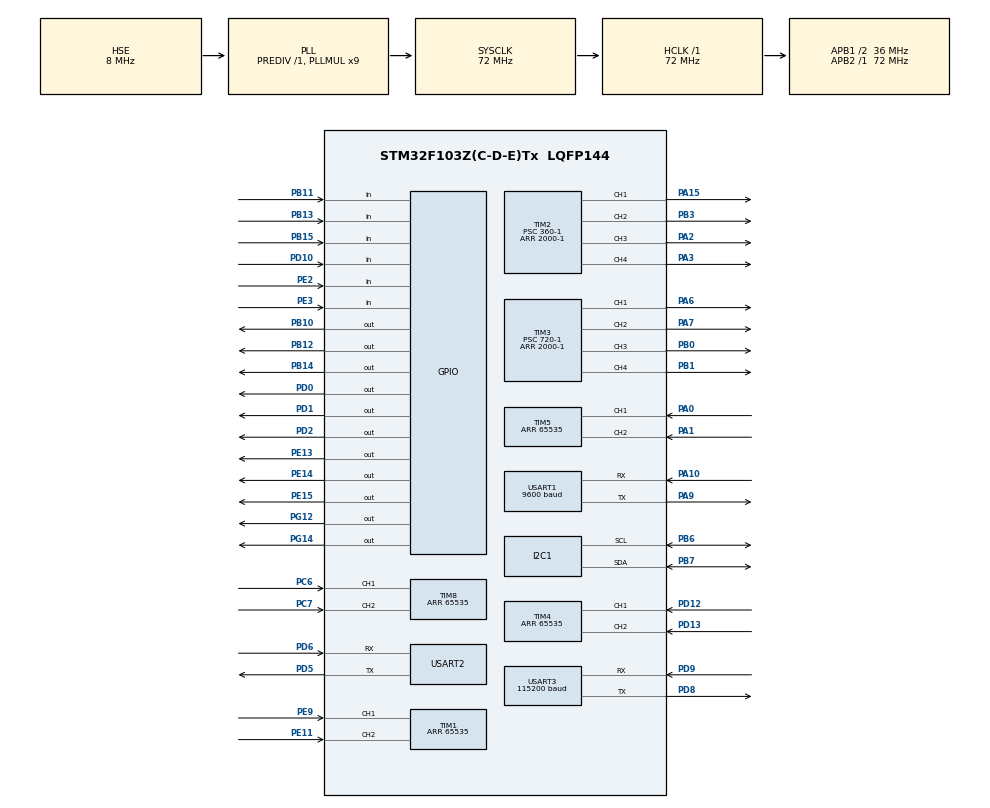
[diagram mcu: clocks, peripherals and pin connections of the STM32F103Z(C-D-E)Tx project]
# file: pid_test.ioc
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Mcu.Family=STM32F1
Mcu.Name=STM32F103Z(C-D-E)Tx
Mcu.Package=LQFP144
NVIC.PriorityGroup=NVIC_PRIORITYGROUP_4
NVIC.TIM1_CC_IRQn=true\:0\:0\:false\:false\:true\:true\:true
NVIC.TIM2_IRQn=true\:0\:0\:false\:false\:true\:true\:true
NVIC.TIM3_IRQn=true\:0\:0\:false\:false\:true\:true\:true
NVIC.TIM4_IRQn=true\:0\:0\:false\:false\:true\:true\:true
NVIC.TIM5_IRQn=true\:0\:0\:false\:false\:true\:true\:true
NVIC.TIM6_IRQn=true\:0\:0\:false\:false\:true\:true\:true
NVIC.TIM8_CC_IRQn=true\:0\:0\:false\:false\:true\:true\:true
NVIC.USART1_IRQn=true\:0\:0\:false\:false\:true\:true\:true
NVIC.USART2_IRQn=true\:0\:0\:false\:false\:true\:true\:true
NVIC.USART3_IRQn=true\:0\:0\:false\:false\:true\:true\:true
OSC_IN.Mode=HSE-External-Oscillator
OSC_IN.Signal=RCC_OSC_IN
OSC_OUT.Mode=HSE-External-Oscillator
OSC_OUT.Signal=RCC_OSC_OUT
PA0-WKUP.Signal=S_TIM5_CH1
PA1.Signal=S_TIM5_CH2
PA10.Mode=Asynchronous
PA10.Signal=USART1_RX
PA13.Mode=Serial_Wire
PA13.Signal=SYS_JTMS-SWDIO
PA14.Mode=Serial_Wire
PA14.Signal=SYS_JTCK-SWCLK
PA15.Signal=S_TIM2_CH1_ETR
PA2.Signal=S_TIM2_CH3
PA3.Signal=S_TIM2_CH4
PA6.Signal=S_TIM3_CH1
PA7.Signal=S_TIM3_CH2
PA9.Mode=Asynchronous
PA9.Signal=USART1_TX
PB0.Signal=S_TIM3_CH3
PB1.Signal=S_TIM3_CH4
PB10.Signal=GPIO_Output
PB11.GPIO_PuPd=GPIO_PULLUP
PB11.Signal=GPIO_Input
PB12.GPIO_Speed=GPIO_SPEED_FREQ_MEDIUM
PB12.Signal=GPIO_Output
PB13.GPIO_PuPd=GPIO_PULLDOWN
PB13.Signal=GPIO_Input
PB14.GPIO_Speed=GPIO_SPEED_FREQ_MEDIUM
PB14.Signal=GPIO_Output
PB15.GPIO_PuPd=GPIO_PULLDOWN
PB15.Signal=GPIO_Input
PB3.Signal=S_TIM2_CH2
PB6.Mode=I2C
PB6.Signal=I2C1_SCL
PB7.Mode=I2C
PB7.Signal=I2C1_SDA
PC14-OSC32_IN.Mode=LSE-External-Oscillator
PC14-OSC32_IN.Signal=RCC_OSC32_IN
PC15-OSC32_OUT.Mode=LSE-External-Oscillator
PC15-OSC32_OUT.Signal=RCC_OSC32_OUT
PC6.Signal=S_TIM8_CH1
PC7.Signal=S_TIM8_CH2
PD0.Signal=GPIO_Output
PD1.Signal=GPIO_Output
PD10.GPIO_PuPd=GPIO_PULLUP
PD10.Signal=GPIO_Input
PD12.Signal=S_TIM4_CH1
PD13.Signal=S_TIM4_CH2
PD2.Signal=GPIO_Output
PD5.Mode=Asynchronous
PD5.Signal=USART2_TX
PD6.Mode=Asynchronous
PD6.Signal=USART2_RX
PD8.Mode=Asynchronous
PD8.Signal=USART3_TX
PD9.Mode=Asynchronous
PD9.Signal=USART3_RX
PE11.Signal=S_TIM1_CH2
PE13.Signal=GPIO_Output
PE14.Signal=GPIO_Output
PE15.Signal=GPIO_Output
PE2.GPIO_PuPd=GPIO_PULLUP
PE2.Signal=GPIO_Input
PE3.GPIO_PuPd=GPIO_PULLUP
PE3.Signal=GPIO_Input
PE9.Signal=S_TIM1_CH1
PG12.Signal=GPIO_Output
PG14.Signal=GPIO_Output
ProjectManager.HeapSize=0x200
ProjectManager.StackSize=0x400
ProjectManager.TargetToolchain=MDK-ARM V5.27
RCC.AHBFreq_Value=72000000
RCC.APB1CLKDivider=RCC_HCLK_DIV2
RCC.APB1Freq_Value=36000000
RCC.APB1TimFreq_Value=72000000
RCC.APB2Freq_Value=72000000
RCC.APB2TimFreq_Value=72000000
RCC.HCLKFreq_Value=72000000
RCC.PLLMUL=RCC_PLL_MUL9
RCC.PLLSourceVirtual=RCC_PLLSOURCE_HSE
RCC.SYSCLKFreq_VALUE=72000000
RCC.SYSCLKSource=RCC_SYSCLKSOURCE_PLLCLK
RCC.USBFreq_Value=72000000
SH.S_TIM1_CH1.0=TIM1_CH1,Encoder_Interface
SH.S_TIM1_CH2.0=TIM1_CH2,Encoder_Interface
SH.S_TIM2_CH1_ETR.0=TIM2_CH1,PWM Generation1 CH1
SH.S_TIM2_CH2.0=TIM2_CH2,PWM Generation2 CH2
SH.S_TIM2_CH3.0=TIM2_CH3,PWM Generation3 CH3
SH.S_TIM2_CH4.0=TIM2_CH4,PWM Generation4 CH4
SH.S_TIM3_CH1.0=TIM3_CH1,PWM Generation1 CH1
SH.S_TIM3_CH2.0=TIM3_CH2,PWM Generation2 CH2
SH.S_TIM3_CH3.0=TIM3_CH3,PWM Generation3 CH3
SH.S_TIM3_CH4.0=TIM3_CH4,PWM Generation4 CH4
SH.S_TIM4_CH1.0=TIM4_CH1,Encoder_Interface
SH.S_TIM4_CH2.0=TIM4_CH2,Encoder_Interface
SH.S_TIM5_CH1.0=TIM5_CH1,Encoder_Interface
SH.S_TIM5_CH2.0=TIM5_CH2,Encoder_Interface
SH.S_TIM8_CH1.0=TIM8_CH1,Encoder_Interface
SH.S_TIM8_CH2.0=TIM8_CH2,Encoder_Interface
TIM1.EncoderMode=TIM_ENCODERMODE_TI12
TIM1.Period=65535
TIM2.Channel-PWM\ Generation1\ CH1=TIM_CHANNEL_1
TIM2.Channel-PWM\ Generation2\ CH2=TIM_CHANNEL_2
TIM2.Channel-PWM\ Generation3\ CH3=TIM_CHANNEL_3
TIM2.Channel-PWM\ Generation4\ CH4=TIM_CHANNEL_4
TIM2.Period=2000-1
TIM2.Prescaler=360-1
TIM3.Channel-PWM\ Generation1\ CH1=TIM_CHANNEL_1
TIM3.Channel-PWM\ Generation2\ CH2=TIM_CHANNEL_2
TIM3.Channel-PWM\ Generation3\ CH3=TIM_CHANNEL_3
TIM3.Channel-PWM\ Generation4\ CH4=TIM_CHANNEL_4
TIM3.Period=2000-1
TIM3.Prescaler=720-1
TIM4.EncoderMode=TIM_ENCODERMODE_TI12
TIM4.Period=65535
TIM5.EncoderMode=TIM_ENCODERMODE_TI12
TIM5.Period=65535
TIM6.Period=1000-1
TIM6.Prescaler=720-1
TIM8.EncoderMode=TIM_ENCODERMODE_TI12
TIM8.Period=65535
USART1.BaudRate=9600
USART1.VirtualMode=VM_ASYNC
USART2.VirtualMode=VM_ASYNC
USART3.BaudRate=115200
USART3.VirtualMode=VM_ASYNC
VP_TIM2_VS_ClockSourceINT.Mode=Internal
VP_TIM3_VS_ClockSourceINT.Mode=Internal
VP_TIM6_VS_ClockSourceINT.Mode=Enable_Timer
board=custom

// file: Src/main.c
/* USER CODE BEGIN Header */
/**
  ******************************************************************************
  * @file           : main.c
  * @brief          : Main program body
  ******************************************************************************
  * @attention
  *
  * <h2><center>&copy; Copyright (c) 2022 STMicroelectronics.
  * All rights reserved.</center></h2>
  *
  * This software component is licensed by ST under BSD 3-Clause license,
  * the "License"; You may not use this file except in compliance with the
  * License. You may obtain a copy of the License at:
  *                        opensource.org/licenses/BSD-3-Clause
  *
  ******************************************************************************
  */
/* USER CODE END Header */

#include "main.h"
#include "i2c.h"
#include "tim.h"
#include "usart.h"
#include "gpio.h"

/* USER CODE BEGIN Includes */
#include "stdio.h"
#include "pid.h"
#include "motor.h"
#include "jy901.h"
#include "openmv.h"
#include "delay.h"
#include "oled.h"
#include "u8g2.h"
#include "stm32_u8g2.h"
#include "encode.h"
#include "chassis.h"
#include "door.h"
#include "HC_SR04.h"
#include "obstacle_avoidance.h"
#include "syn6288.h"

struct FILE
{
	int handle;
};

int fputc(int ch,FILE *f)
{
	HAL_UART_Transmit(&huart1,(uint8_t*)&ch,1,0xffff);
	return ch;
}

u8g2_t u8g2;
int tim7dieorlive=0;
int pwmtest=0;

int my_test_ok=0;
/* USER CODE END Includes */

void SystemClock_Config(void);

/* USER CODE BEGIN 0 */

void testDrawProcess(u8g2_t *u8g2)
{
	for(int i=10;i<=80;i=i+2)
	{
		u8g2_ClearBuffer(u8g2);

		char buff[20];
		sprintf(buff,"%d%%",(int)(i/80.0*100));

		u8g2_SetFont(u8g2,u8g2_font_ncenB12_tf);
		u8g2_DrawStr(u8g2,16,32,"STM32 U8g2");//字符显示

		u8g2_SetFont(u8g2,u8g2_font_ncenB08_tf);
		u8g2_DrawStr(u8g2,100,49,buff);//当前进度显示

		u8g2_DrawRBox(u8g2,16,40,i,10,4);//圆角填充框矩形框
		u8g2_DrawRFrame(u8g2,16,40,80,10,4);//圆角矩形

		u8g2_SendBuffer(u8g2);
	}
	HAL_Delay(500);
}

void DrawStatus(u8g2_t *u8g2)
{
	u8g2_ClearBuffer(u8g2);
	u8g2_SetFont(u8g2,u8g2_font_ncenB12_tf);
	u8g2_DrawStr(u8g2,16,32,"STM32 U8g2");//字符显示

	float realangle=JY901_data.angle.angle[2]-TheBeginAngle;
	static float lastangle=0;
	if(lastangle>179.9999 && realangle<0){realangle+=360;}
	else if(lastangle<-179.899 && realangle>0){realangle+=-360;}
	char buff[4]={0};
	if(realangle>0)
	{
		buff[0]='0'+(int)realangle/100;
		buff[1]='0'+((int)(realangle)%100)/10;
		buff[2]='0'+(int)(realangle)%10;
		u8g2_SetFont(u8g2,u8g2_font_ncenB12_tf);
		u8g2_DrawStr(u8g2,16,50,"+");
		u8g2_SetFont(u8g2,u8g2_font_ncenB12_tf);
		u8g2_DrawStr(u8g2,32,50,buff);
	}else
	{
		buff[0]='0'+(int)-(realangle)/100;
		buff[1]='0'+((int)-(realangle)%100)/10;
		buff[2]='0'+(int)-(realangle)%10;
		u8g2_SetFont(u8g2,u8g2_font_ncenB12_tf);
		u8g2_DrawStr(u8g2,16,50,"-");
		u8g2_SetFont(u8g2,u8g2_font_ncenB12_tf);
		u8g2_DrawStr(u8g2,32,50,buff);
	}
	u8g2_SendBuffer(u8g2);
	lastangle=realangle;
}

void HAL_TIM_PeriodElapsedCallback(TIM_HandleTypeDef *htim)
{
	if(htim->Instance==TIM6)
	{
		realspeed_MA=Read_MX_Encoder(1);
		realspeed_MB=Read_MX_Encoder(4);
		realspeed_MC=Read_MX_Encoder(5);
		realspeed_MD=Read_MX_Encoder(8);
//		Chassis_Status_Analysis(1);
//		chassis_run_test();
		DoorKey_Detection();
//		XVector=0;
//		YVector=0;
//		chassis_task(XVector,YVector,RotVector,RotateK);
//		if(GetorPutRightDoorObject(PUT)==1){RightDoor(0);}
//		if(GetorPutLeftDoorObject(PUT)==1) {RightDoor(0);}
		Demo();
	}
//	if(htim->Instance==TIM7)
//	{
//		HC_SR04UPdate(&hc_sr04Left);
//		HC_SR04UPdate(&hc_sr04Right);
//		//HAL_Delay(100);
//		tim7dieorlive++;
//	}

}
void HAL_UART_RxCpltCallback(UART_HandleTypeDef *UartHandle)
{

	if(UartHandle->Instance==USART1)
	{
		//NumOpenMV_Recieve();

	}
    if(UartHandle->Instance==USART3)
	{
 		OpenMV_Recieve();
	}
	if(UartHandle->Instance==USART2)
	{
		JY901_data.Rx_len=33;
		JY901_Recieve(&JY901_data);
		JY901_Process(&JY901_data);
	}
}
/* USER CODE END 0 */

int main(void)
{

  /* MCU Configuration--------------------------------------------------------*/

  /* Reset of all peripherals, Initializes the Flash interface and the Systick. */
  HAL_Init();

  /* Configure the system clock */
  SystemClock_Config();

  /* Initialize all configured peripherals */
  MX_GPIO_Init();
  MX_USART1_UART_Init();
  MX_TIM1_Init();
  MX_TIM2_Init();
  MX_TIM3_Init();
  MX_TIM4_Init();
  MX_TIM5_Init();
  MX_TIM8_Init();
  MX_I2C1_Init();
  MX_USART2_UART_Init();
  MX_USART3_UART_Init();
  MX_TIM6_Init();
  /* USER CODE BEGIN 2 */
  HAL_TIM_Encoder_Start(&htim1,TIM_CHANNEL_ALL);
  HAL_TIM_Encoder_Start(&htim4,TIM_CHANNEL_ALL);
  HAL_TIM_Encoder_Start(&htim5,TIM_CHANNEL_ALL);
  HAL_TIM_Encoder_Start(&htim8,TIM_CHANNEL_ALL);
  HAL_TIM_PWM_Start(&htim2,TIM_CHANNEL_1);
  HAL_TIM_PWM_Start(&htim2,TIM_CHANNEL_2);
  HAL_TIM_PWM_Start(&htim2,TIM_CHANNEL_3);
  HAL_TIM_PWM_Start(&htim2,TIM_CHANNEL_4);

//开启定时器中断服务函数
  HAL_TIM_Base_Start_IT(&htim6);
  //HAL_TIM_Base_Start_IT(&htim7);
  pid_Init();
  motor_Init();
  Encode_Init();
  OpenMV_Init();
  Door_Init();
  JY901_Init();
  User_USART_Init(&JY901_data);
  JY901_Recieve(&JY901_data);
  HC_SR04_Init();
  OpenMV_Init();
  Chassis_task_Init();
  u8g2Init(&u8g2);  		 //显示器调用初始化函数
  u8g2_ClearDisplay(&u8g2);  //清除屏幕缓冲区
//  syn6288_Init();
//  SYN_FrameInfo(2, (uint8_t*)"[v16][m1][t5] 请装入物料，并关闭仓门");
HAL_UART_Transmit_IT(&huart1,VoiceBox_Began,sizeof(VoiceBox_Began));

  /* USER CODE END 2 */

  /* Infinite loop */
  /* USER CODE BEGIN WHILE */
  while (1)
  {
	//distanceleft=sonar_mmLEFT();
	//distanceright=sonar_mmRIGHT();
	//testDrawProcess(&u8g2);
	DrawStatus(&u8g2);
	//chassis_run_test();
//	static int myreset=0;
//    if((JY901_data.angle.angle[0]+JY901_data.angle.angle[1]+JY901_data.angle.angle[2])==0&&myreset==0)
//	{
//	    __set_FAULTMASK(1);
//		HAL_NVIC_SystemReset();
//	     myreset=1;
//	}
//	if(Sound_broadcasting_signal==1)
//	{
//		SYN_FrameInfo(2, (uint8_t*)"[v16][m1][t5] 到达1号收货点，请取出货物并关闭仓门");
//		Sound_broadcasting_signal=0;
//	}
//	else if(Sound_broadcasting_signal==2)
//	{
//		SYN_FrameInfo(2, (uint8_t*)"[v16][m1][t5] 到达2号收货点，请取出货物并关闭仓门");
//		Sound_broadcasting_signal=0;
//	}
    /* USER CODE END WHILE */

  }
}

void SystemClock_Config(void)
{
  RCC_OscInitTypeDef RCC_OscInitStruct = {0};
  RCC_ClkInitTypeDef RCC_ClkInitStruct = {0};

  /** Initializes the CPU, AHB and APB busses clocks
  */
  RCC_OscInitStruct.OscillatorType = RCC_OSCILLATORTYPE_HSE;
  RCC_OscInitStruct.HSEState = RCC_HSE_ON;
  RCC_OscInitStruct.HSEPredivValue = RCC_HSE_PREDIV_DIV1;
  RCC_OscInitStruct.HSIState = RCC_HSI_ON;
  RCC_OscInitStruct.PLL.PLLState = RCC_PLL_ON;
  RCC_OscInitStruct.PLL.PLLSource = RCC_PLLSOURCE_HSE;
  RCC_OscInitStruct.PLL.PLLMUL = RCC_PLL_MUL9;
  if (HAL_RCC_OscConfig(&RCC_OscInitStruct) != HAL_OK)
  {
    Error_Handler();
  }
  /** Initializes the CPU, AHB and APB busses clocks
  */
  RCC_ClkInitStruct.ClockType = RCC_CLOCKTYPE_HCLK|RCC_CLOCKTYPE_SYSCLK
                              |RCC_CLOCKTYPE_PCLK1|RCC_CLOCKTYPE_PCLK2;
  RCC_ClkInitStruct.SYSCLKSource = RCC_SYSCLKSOURCE_PLLCLK;
  RCC_ClkInitStruct.AHBCLKDivider = RCC_SYSCLK_DIV1;
  RCC_ClkInitStruct.APB1CLKDivider = RCC_HCLK_DIV2;
  RCC_ClkInitStruct.APB2CLKDivider = RCC_HCLK_DIV1;

  if (HAL_RCC_ClockConfig(&RCC_ClkInitStruct, FLASH_LATENCY_2) != HAL_OK)
  {
    Error_Handler();
  }
}

void Error_Handler(void)
{
}

/************************ (C) COPYRIGHT STMicroelectronics *****END OF FILE****/
